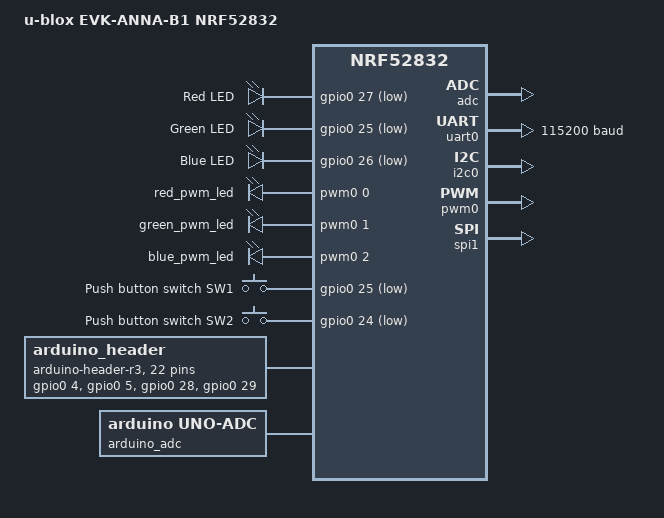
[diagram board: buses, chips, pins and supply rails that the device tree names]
/*
 * Copyright (c) 2021 u-blox AG
 *
 * SPDX-License-Identifier: Apache-2.0
 */

/dts-v1/;
#include <nordic/nrf52832_qfaa.dtsi>
#include "ubx_evkannab1_nrf52832-pinctrl.dtsi"
#include <zephyr/dt-bindings/gpio/arduino-header-r3.h>
#include <zephyr/dt-bindings/input/input-event-codes.h>

/ {
	model = "u-blox EVK-ANNA-B1 NRF52832";
	compatible = "u-blox,ubx_evkannab1_nrf52832";

	chosen {
		zephyr,console = &uart0;
		zephyr,shell-uart = &uart0;
		zephyr,uart-mcumgr = &uart0;
		zephyr,bt-mon-uart = &uart0;
		zephyr,bt-c2h-uart = &uart0;
		zephyr,sram = &sram0;
		zephyr,flash = &flash0;
		zephyr,code-partition = &slot0_partition;
	};

	leds {
		compatible = "gpio-leds";
		led0: led_0 {
			/* ANNA-B1 GPIO_29 */
			gpios = <&gpio0 27 GPIO_ACTIVE_LOW>;
			label = "Red LED";
		};
		led1: led_1 {
			/* ANNA-B1 GPIO_30 */
			gpios = <&gpio0 25 GPIO_ACTIVE_LOW>;
			label = "Green LED";
		};
		led2: led_2 {
			/*ANNA-B1 GPIO_31 */
			gpios = <&gpio0 26 GPIO_ACTIVE_LOW>;
			label = "Blue LED";
		};
	};

	pwmleds {
		compatible = "pwm-leds";
		red_pwm_led: red_pwm_led {
			pwms = <&pwm0 0 PWM_MSEC(20) PWM_POLARITY_INVERTED>;
		};
		green_pwm_led: green_pwm_led {
			pwms = <&pwm0 1 PWM_MSEC(20) PWM_POLARITY_INVERTED>;
		};
		blue_pwm_led: blue_pwm_led {
			pwms = <&pwm0 2 PWM_MSEC(20) PWM_POLARITY_INVERTED>;
		};
	};

	buttons {
		compatible = "gpio-keys";
		button0: button_0 {
			/*  EVK-ANNA-B1 SW1 button */
			gpios = <&gpio0 25 (GPIO_PULL_UP | GPIO_ACTIVE_LOW)>;
			label = "Push button switch SW1";
			zephyr,code = <INPUT_KEY_0>;
		};
		button1: button_1 {
			/* EVK-ANNA-B1 SW2 button */
			gpios = <&gpio0 24 (GPIO_PULL_UP | GPIO_ACTIVE_LOW)>;
			label = "Push button switch SW2";
			zephyr,code = <INPUT_KEY_1>;
		};
	};

	arduino_header: connector {
		compatible = "arduino-header-r3";
		#gpio-cells = <2>;
		gpio-map-mask = <0xffffffff 0xffffffc0>;
		gpio-map-pass-thru = <0 0x3f>;
		gpio-map = <ARDUINO_HEADER_R3_A0 0 &gpio0 4 0>,
			   <ARDUINO_HEADER_R3_A1 0 &gpio0 5 0>,
			   <ARDUINO_HEADER_R3_A2 0 &gpio0 28 0>,
			   <ARDUINO_HEADER_R3_A3 0 &gpio0 29 0>,
			   <ARDUINO_HEADER_R3_A4 0 &gpio0 30 0>,
			   <ARDUINO_HEADER_R3_A5 0 &gpio0 31 0>,
			   <ARDUINO_HEADER_R3_D0 0 &gpio0 2 0>,
			   <ARDUINO_HEADER_R3_D1 0 &gpio0 3 0>,
			   <ARDUINO_HEADER_R3_D2 0 &gpio0 19 0>,
			   <ARDUINO_HEADER_R3_D3 0 &gpio0 11 0>,
			   <ARDUINO_HEADER_R3_D4 0 &gpio0 27 0>,
			   <ARDUINO_HEADER_R3_D5 0 &gpio0 26 0>,
			   <ARDUINO_HEADER_R3_D6 0 &gpio0 10 0>,
			   <ARDUINO_HEADER_R3_D7 0 &gpio0 9 0>,
			   <ARDUINO_HEADER_R3_D8 0 &gpio0 14 0>,
			   <ARDUINO_HEADER_R3_D9 0 &gpio0 24 0>,
			   <ARDUINO_HEADER_R3_D10 0 &gpio0 22 0>,
			   <ARDUINO_HEADER_R3_D11 0 &gpio0 23 0>,
			   <ARDUINO_HEADER_R3_D12 0 &gpio0 18 0>,
			   <ARDUINO_HEADER_R3_D13 0 &gpio0 20 0>,
			   <ARDUINO_HEADER_R3_D14 0 &gpio0 15 0>,
			   <ARDUINO_HEADER_R3_D15 0 &gpio0 16 0>;
	};

	arduino_adc: analog-connector {
		compatible = "arduino,uno-adc";
		#io-channel-cells = <1>;
		io-channel-map = <0 &adc 1>,	/* A0 = P0.4 = AIN1 */
				 <1 &adc 2>,	/* A1 = P0.5 = AIN2 */
				 <2 &adc 4>,	/* A2 = P0.28 = AIN4 */
				 <3 &adc 5>,	/* A3 = P0.29 = AIN5 */
				 <4 &adc 6>,	/* A4 = P0.30 = AIN6 */
				 <5 &adc 7>;	/* A5 = P0.31 = AIN7 */
	};

	/* These aliases are provided for compatibility with samples */
	aliases {
		led0 = &led0;
		led1 = &led1;
		led2 = &led2;
		pwm-led0 = &red_pwm_led;
		pwm-led1 = &green_pwm_led;
		pwm-led2 = &blue_pwm_led;
		red-pwm-led = &red_pwm_led;
		green-pwm-led = &green_pwm_led;
		blue-pwm-led = &blue_pwm_led;
		sw0 = &button0;
		sw1 = &button1;
		watchdog0 = &wdt0;
	};
};

&reg {
	regulator-initial-mode = <NRF5X_REG_MODE_DCDC>;
};

&adc {
	status = "okay";
};

&uicr {
	gpio-as-nreset;
};

&gpiote {
	status = "okay";
};

&gpio0 {
	status = "okay";
};


&uart0 {
	compatible = "nordic,nrf-uarte";
	status = "okay";
	current-speed = <115200>;
	pinctrl-0 = <&uart0_default>;
	pinctrl-1 = <&uart0_sleep>;
	pinctrl-names = "default", "sleep";
};

arduino_i2c: &i2c0 {
	compatible = "nordic,nrf-twi";
	status = "okay";
	pinctrl-0 = <&i2c0_default>;
	pinctrl-1 = <&i2c0_sleep>;
	pinctrl-names = "default", "sleep";
};

&i2c1 {
	compatible = "nordic,nrf-twi";
	/* Cannot be used together with spi1. */
	/* status = "okay"; */
	pinctrl-0 = <&i2c1_default>;
	pinctrl-1 = <&i2c1_sleep>;
	pinctrl-names = "default", "sleep";
};

&pwm0 {
	status = "okay";
	pinctrl-0 = <&pwm0_default>;
	pinctrl-1 = <&pwm0_sleep>;
	pinctrl-names = "default", "sleep";
};

arduino_spi: &spi0 {
	compatible = "nordic,nrf-spi";
	/* Cannot be use simultaneously with i2c0 */
	/* status = "okay"; */
	cs-gpios = <&arduino_header 16 GPIO_ACTIVE_LOW>; /* D10 */
	pinctrl-0 = <&spi0_default>;
	pinctrl-1 = <&spi0_sleep>;
	pinctrl-names = "default", "sleep";
};

&spi1 {
	compatible = "nordic,nrf-spi";
	status = "okay";
	pinctrl-0 = <&spi1_default>;
	pinctrl-1 = <&spi1_sleep>;
	pinctrl-names = "default", "sleep";
};

&flash0 {
	partitions {
		compatible = "fixed-partitions";
		#address-cells = <1>;
		#size-cells = <1>;

		boot_partition: partition@0 {
			label = "mcuboot";
			reg = <0x00000000 0xc000>;
		};
		slot0_partition: partition@c000 {
			label = "image-0";
			reg = <0x0000C000 0x32000>;
		};
		slot1_partition: partition@3e000 {
			label = "image-1";
			reg = <0x0003E000 0x32000>;
		};
		scratch_partition: partition@70000 {
			label = "image-scratch";
			reg = <0x00070000 0xa000>;
		};
		storage_partition: partition@7a000 {
			label = "storage";
			reg = <0x0007a000 0x00006000>;
		};
	};
};
